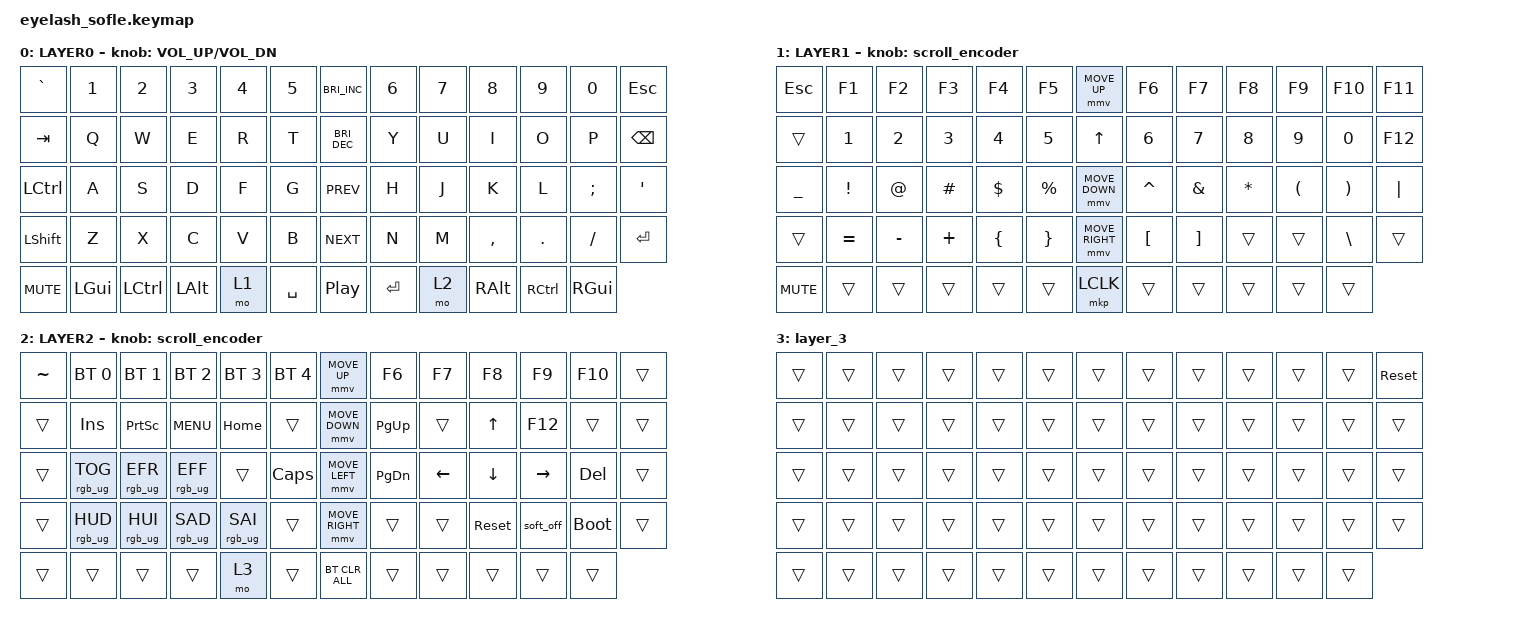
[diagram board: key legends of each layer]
#define ZMK_POINTING_DEFAULT_MOVE_VAL 1200  // 600
#define ZMK_POINTING_DEFAULT_SCRL_VAL 35    // 10
#include <input/processors.dtsi>
#include <behaviors.dtsi>
#include <dt-bindings/zmk/bt.h>
#include <dt-bindings/zmk/keys.h>
#include <dt-bindings/zmk/outputs.h>
#include <dt-bindings/zmk/pointing.h>
#include <dt-bindings/zmk/ext_power.h>
#include <dt-bindings/zmk/rgb.h>
#include <zephyr/dt-bindings/input/input-event-codes.h>

/ {
  zip_scroll_scaler: zip_scroll_scaler {
    compatible = "zmk,input-processor-scaler";
    #input-processor-cells = <2>;
    type = <INPUT_EV_REL>;
    codes = <INPUT_REL_WHEEL INPUT_REL_HWHEEL>;
    track-remainders;
  };
};

&mmv_input_listener {
       input-processors = <&zip_xy_scaler 2 1>;
};

&msc_input_listener {
       input-processors = <&zip_scroll_scaler 2 1>;
};

&msc {
    acceleration-exponent = <0>;      // 0
    time-to-max-speed-ms = <0>;       // 300
    delay-ms = <0>;                   // 0
};

&mmv {
    time-to-max-speed-ms = <400>;
    acceleration-exponent = <1>;
};


/ {
    scroll_encoder: scroll_encoder {
        compatible = "zmk,behavior-sensor-rotate";
        #sensor-binding-cells = <0>;
        bindings = <&msc SCRL_DOWN>, <&msc SCRL_UP>;

        tap-ms = <30>;
    };

    keymap {
        compatible = "zmk,keymap";

        layer0 {
            bindings = <
&kp GRAVE   &kp N1     &kp N2        &kp N3        &kp N4  &kp N5       &kp C_BRI_INC    &kp N6     &kp N7     &kp N8       &kp N9           &kp N0      &kp ESC
&kp TAB     &kp Q      &kp W         &kp E         &kp R   &kp T        &kp C_BRI_DEC    &kp Y      &kp U      &kp I        &kp O            &kp P       &kp BACKSPACE
&kp LCTRL   &kp A      &kp S         &kp D         &kp F   &kp G        &kp C_PREV       &kp H      &kp J      &kp K        &kp L            &kp SEMI    &kp APOS
&kp LSHFT   &kp Z      &kp X         &kp C         &kp V   &kp B        &kp C_NEXT       &kp N      &kp M      &kp COMMA    &kp DOT          &kp FSLH    &kp ENTER
&kp C_MUTE  &kp LGUI   &kp LCTRL     &kp LALT      &mo 1   &kp SPACE    &kp C_PP         &kp ENTER  &mo 2      &kp RALT     &kp RCTRL        &kp RGUI
            >;

            sensor-bindings = <&inc_dec_kp C_VOLUME_UP C_VOL_DN>;
            display-name = "LAYER0";
        };

        layer_1 {
            bindings = <
&kp ESC     &kp F1       &kp F2       &kp F3      &kp F4     &kp F5      &mmv MOVE_UP     &kp F6           &kp F7           &kp F8      &kp F9     &kp F10           &kp F11
&trans      &kp N1       &kp N2       &kp N3      &kp N4     &kp N5      &kp UP_ARROW     &kp N6           &kp N7           &kp N8      &kp N9     &kp N0            &kp F12
&kp UNDER   &kp EXCL     &kp AT       &kp POUND   &kp DLLR   &kp PRCNT   &mmv MOVE_DOWN   &kp CARET        &kp AMPERSAND    &kp STAR    &kp LPAR   &kp RPAR          &kp PIPE
&trans      &kp EQUAL    &kp MINUS    &kp PLUS    &kp LBRC   &kp RBRC    &mmv MOVE_RIGHT  &kp LBKT         &kp RBKT         &trans      &trans     &kp BSLH          &trans
&kp C_MUTE  &trans       &trans       &trans      &trans     &trans      &mkp LCLK        &trans           &trans           &trans      &trans     &trans
            >;

            display-name = "LAYER1";
            sensor-bindings = <&scroll_encoder>;
        };

        layer_2 {
            bindings = <
&kp TILDE  &bt BT_SEL 0     &bt BT_SEL 1      &bt BT_SEL 2      &bt BT_SEL 3     &bt BT_SEL 4    &mmv MOVE_UP     &kp F6     &kp F7    &kp F8      &kp F9     &kp F10      &trans
&trans     &kp INS          &kp PSCRN         &kp K_MENU        &kp HOME         &trans          &mmv MOVE_DOWN   &kp PG_UP  &trans    &kp UP      &kp F12    &trans       &trans
&trans     &rgb_ug RGB_TOG  &rgb_ug RGB_EFR   &rgb_ug RGB_EFF   &trans           &kp CAPS        &mmv MOVE_LEFT   &kp PG_DN  &kp LEFT  &kp DOWN    &kp RIGHT  &kp DEL      &trans
&trans     &rgb_ug RGB_HUD  &rgb_ug RGB_HUI   &rgb_ug RGB_SAD   &rgb_ug RGB_SAI  &trans          &mmv MOVE_RIGHT  &trans     &trans    &sys_reset  &soft_off  &bootloader  &trans
&trans     &trans           &trans            &trans            &mo 3            &trans          &bt BT_CLR_ALL   &trans     &trans    &trans      &trans     &trans
            >;

            display-name = "LAYER2";
            sensor-bindings = <&scroll_encoder>;
        };

        layer_3 {
            bindings = <
&trans  &trans  &trans  &trans  &trans  &trans    &trans  &trans  &trans  &trans  &trans  &trans  &sys_reset
&trans  &trans  &trans  &trans  &trans  &trans    &trans  &trans  &trans  &trans  &trans  &trans  &trans
&trans  &trans  &trans  &trans  &trans  &trans    &trans  &trans  &trans  &trans  &trans  &trans  &trans
&trans  &trans  &trans  &trans  &trans  &trans    &trans  &trans  &trans  &trans  &trans  &trans  &trans
&trans  &trans  &trans  &trans  &trans  &trans    &trans  &trans  &trans  &trans  &trans  &trans
            >;
        };
    };
};
